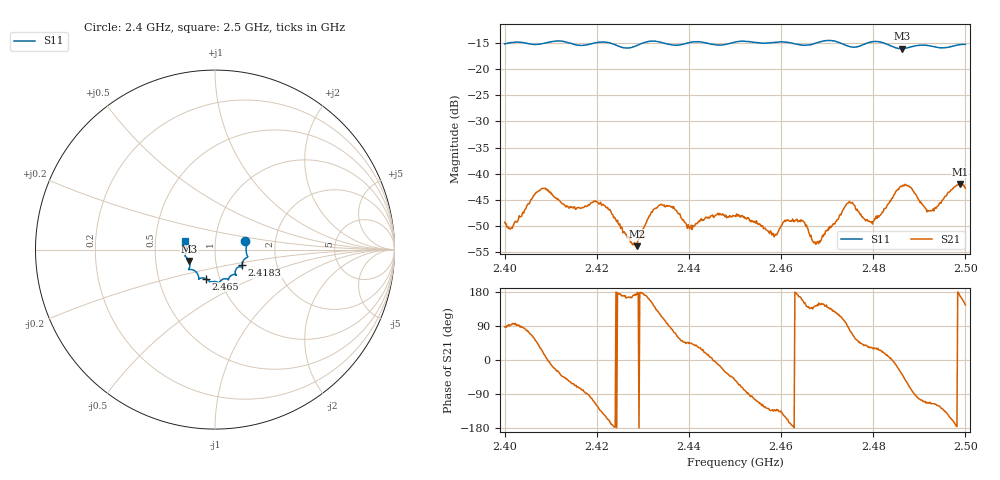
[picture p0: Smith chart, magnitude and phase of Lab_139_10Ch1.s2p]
# Hz S RI R 50
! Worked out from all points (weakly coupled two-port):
!   601 points, 2.4 GHz to 2.5 GHz, reference 50 ohm
!   highest |S21| = -41.97 dB at 2.4988 GHz (marker M1); lowest = -53.9 dB at 2.4287 GHz (marker M2)
!   lowest |S11| = -16.1 dB at 2.4862 GHz (marker M3), VSWR 1.37, Z = 37.2 - j4.81 ohm
!   |S11| at or under -10 dB: start of sweep to end of sweep
!   S12 and S22 are empty: the file has one direction only
!   S11 on the Smith chart (normalised r, x): 2.4 GHz: 1.40, +0.14; 2.4183 GHz: 1.33, -0.24; 2.465 GHz: 0.86, -0.29; 2.5 GHz: 0.71, +0.07
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2.4e9  0.1687 0.0469  0.000141 0.00343  0 0  0 0
2.4015e9  0.176 0.0393  -0.000155 0.00303  0 0  0 0
2.408333e9  0.1756 -0.0195  0.00676 0.00253  0 0  0 0
2.416667e9  0.1546 -0.0683  0.000936 -0.00459  0 0  0 0
2.418333e9  0.1501 -0.087  -0.000317 -0.00498  0 0  0 0
2.421833e9  0.1527 -0.0993  -0.00412 -0.00264  0 0  0 0
2.428667e9  0.1128 -0.1255  -0.002 0.000269  0 0  0 0
2.433333e9  0.1176 -0.1411  -0.003 0.00385  0 0  0 0
2.440167e9  0.0758 -0.1639  0.00209 0.0021  0 0  0 0
2.45e9  0.0263 -0.1803  0.00236 -0.00317  0 0  0 0
2.4585e9  -0.0204 -0.1798  -0.00164 -0.00186  0 0  0 0
2.461e9  -0.0293 -0.1797  -0.00306 -0.00166  0 0  0 0
2.465e9  -0.0523 -0.1615  -0.00297 0.00171  0 0  0 0
2.466667e9  -0.0712 -0.1578  -0.00176 0.00154  0 0  0 0
2.468167e9  -0.0845 -0.1607  -0.00186 0.00106  0 0  0 0
2.474667e9  -0.0983 -0.1337  0.000507 0.00526  0 0  0 0
2.4795e9  -0.1449 -0.1111  0.00288 0.00189  0 0  0 0
2.483333e9  -0.1412 -0.0968  0.00511 0.000832  0 0  0 0
2.486167e9  -0.144 -0.0631  0.00606 -0.00443  0 0  0 0
2.492167e9  -0.1657 -0.0274  -0.00166 -0.00406  0 0  0 0
2.498833e9  -0.1676 0.0408  -0.00783 0.0015  0 0  0 0
2.5e9  -0.1666 0.0469  -0.00598 0.00411  0 0  0 0
